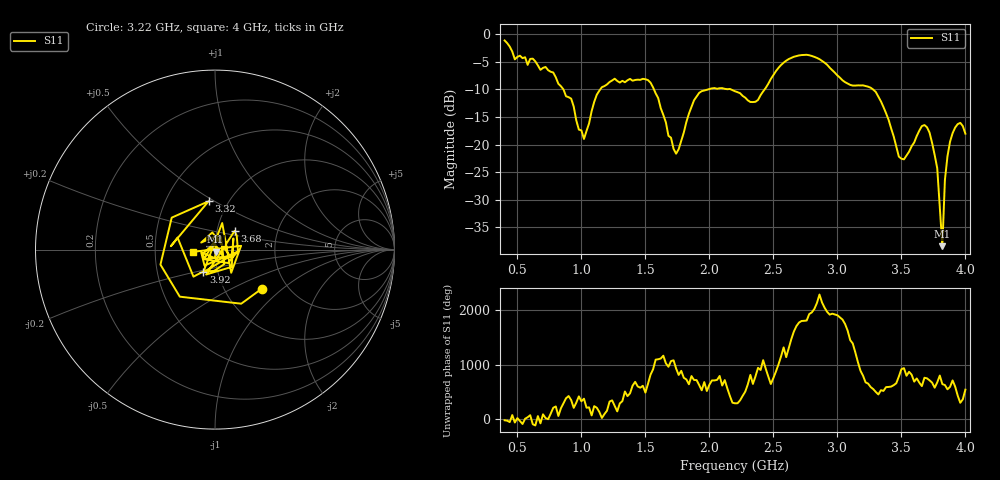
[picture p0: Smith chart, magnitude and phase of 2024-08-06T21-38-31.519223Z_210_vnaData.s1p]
!Created with skrf (http://scikit-rf.org).
# Hz S RI R 50.0
!freq ReS11 ImS11
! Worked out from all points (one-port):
!   181 points, 400 MHz to 4 GHz, reference 50 ohm
!   lowest |S11| = -38.4 dB at 3.82 GHz (marker M1), VSWR 1.02, Z = 50.3 - j1.16 ohm
!   |S11| at or under -10 dB: 859.9 MHz to 1.147 GHz (287.4 MHz wide, 28.6 % of centre); 1.567 GHz to 1.99 GHz (423.2 MHz wide, 23.8 % of centre); 3.278 GHz to end of sweep (the widest 3 of 4)
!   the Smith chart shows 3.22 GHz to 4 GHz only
!   S11 on the Smith chart (normalised r, x): 3.22 GHz: 1.49, -0.73; 3.32 GHz: 0.81, +0.47; 3.68 GHz: 1.21, +0.26; 3.92 GHz: 0.85, -0.22; 4 GHz: 0.78, -0.02
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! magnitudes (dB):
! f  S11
! 400 MHz  -1.1
! 480 MHz  -4.6
! 620 MHz  -4.4
! 860 MHz  -10.0
! 1.02 GHz  -19.0
! 1.12 GHz  -11.0
! 1.3 GHz  -8.8
! 1.54 GHz  -8.8
! 1.72 GHz  -20.8
! 1.76 GHz  -20.8
! 1.92 GHz  -10.6
! 2.2 GHz  -10.3
! 2.36 GHz  -12.2
! 2.66 GHz  -4.1
! 2.86 GHz  -4.5
! 3.1 GHz  -9.2
! 3.22 GHz  -9.4
! 3.32 GHz  -11.3
! 3.48 GHz  -22.2
! 3.56 GHz  -21.3
! 3.68 GHz  -16.4
! 3.72 GHz  -17.8
! 3.78 GHz  -24.3
! 3.82 GHz  -38.4
! 3.84 GHz  -26.4
! 3.88 GHz  -19.5
! 3.92 GHz  -16.9
! 4 GHz  -18.0
